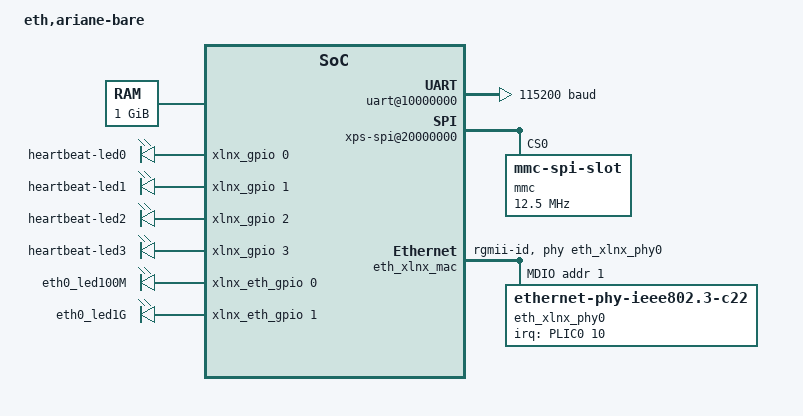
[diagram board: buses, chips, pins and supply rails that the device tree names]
/dts-v1/;

#include <dt-bindings/gpio/gpio.h>

/ {
  #address-cells = <2>;
  #size-cells = <2>;
  compatible = "eth,ariane-bare-dev";
  model = "eth,ariane-bare";
  chosen {
    stdout-path = "/soc/uart@10000000:115200";
    //tick-timer =  "/cpus/cpu@0";
  };
  clk100: clk100 {
      compatible = "fixed-clock";
      #clock-cells = <0>;
      clock-frequency = <100000000>;
  };
  clk125: clk125 {
      compatible = "fixed-clock";
      #clock-cells = <0>;
      clock-frequency = <125000000>;
  };
  cpus {
    #address-cells = <1>;
    #size-cells = <0>;
    timebase-frequency = <50000000>; // 50 MHz
    CPU0: cpu@0 {
      clock-frequency = <100000000>; // 100 MHz
      device_type = "cpu";
      reg = <0>;
      status = "okay";
      compatible = "eth, ariane", "riscv";
      riscv,isa = "rv64imafdch_zicbom";
      mmu-type = "riscv,sv39";
      tlb-split;
      d-cache-block-size = <128>;
      riscv,cbom-block-size = <128>;
      // HLIC - hart local interrupt controller
      CPU0_intc: interrupt-controller {
        #interrupt-cells = <1>;
        interrupt-controller;
        compatible = "riscv,cpu-intc";
      };
    };
    CPU1: cpu@1 {
      clock-frequency = <100000000>; // 100 MHz
      device_type = "cpu";
      reg = <1>;
      status = "okay";
      compatible = "eth, ariane", "riscv";
      riscv,isa = "rv64imafdch_zicbom";
      mmu-type = "riscv,sv39";
      tlb-split;
      d-cache-block-size = <128>;
      riscv,cbom-block-size = <128>;
      // HLIC - hart local interrupt controller
      CPU1_intc: interrupt-controller {
        #interrupt-cells = <1>;
        interrupt-controller;
        compatible = "riscv,cpu-intc";
      };
    };
  };
  memory@80000000 {
    device_type = "memory";
    reg = <0x0 0x80000000 0x0 0x40000000>;
  };
  leds {
    compatible = "gpio-leds";
    heartbeat-led0 {
      gpios = <&xlnx_gpio 0 GPIO_ACTIVE_HIGH>;
      linux,default-trigger = "panic";
      retain-state-suspended;
    };
    heartbeat-led1 {
      gpios = <&xlnx_gpio 1 GPIO_ACTIVE_HIGH>;
      linux,default-trigger = "panic";
      retain-state-suspended;
    };
    heartbeat-led2 {
      gpios = <&xlnx_gpio 2 GPIO_ACTIVE_HIGH>;
      linux,default-trigger = "panic";
      retain-state-suspended;
    };
    heartbeat-led3 {
      gpios = <&xlnx_gpio 3 GPIO_ACTIVE_HIGH>;
      linux,default-trigger = "panic";
      retain-state-suspended;
    };
    eth0_led100M {
      gpios = <&xlnx_eth_gpio 0 GPIO_ACTIVE_HIGH>;
      default-state = "off";
      linux,default-trigger = "axienet-40c00000:01:100Mbps";
    };
    eth0_led1G {
      gpios = <&xlnx_eth_gpio 1 GPIO_ACTIVE_HIGH>;
      default-state = "off";
      linux,default-trigger = "axienet-40c00000:01:1Gbps";
    };
  };
  L26: soc {
    #address-cells = <2>;
    #size-cells = <2>;
    compatible = "eth,ariane-bare-soc", "simple-bus";
    ranges;
    dma-noncoherent;
    clint@2000000 {
      compatible = "riscv,clint0";
      interrupts-extended = <&CPU0_intc 3 &CPU0_intc 7 &CPU1_intc 3 &CPU1_intc 7>;
      reg = <0x0 0x2000000 0x0 0xc0000>;
      reg-names = "control";
    };
    PLIC0: interrupt-controller@c000000 {
      #address-cells = <0>;
      #interrupt-cells = <1>;
      compatible = "riscv,plic0";
      interrupt-controller;
      interrupts-extended = <&CPU0_intc 11 &CPU0_intc 9 &CPU1_intc 11 &CPU1_intc 9>;
      reg = <0x0 0xc000000 0x0 0x4000000>;
      riscv,max-priority = <7>;
      riscv,ndev = <30>;
    };
    // Specifying the interrupt controller in the devicetree is not necessary.
    // Furthermore, the IRQ 65535 will cause a `hwirq 0xffff is too large` during
    // Linux boot (occured with mainline linux 5.14.0).
    //  debug-controller@0 {
    //    compatible = "riscv,debug-013";
    //    interrupts-extended = <&CPU0_intc 65535>;
    //    reg = <0x0 0x0 0x0 0x1000>;
    //    reg-names = "control";
    //  };
    uart@10000000 {
      compatible = "xlnx,axi-uart16550-1.01.a", "xlnx,xps-uart16550-2.00.a", "ns16550a";
      reg = <0x0 0x10000000 0x0 0x10000>;
      clock-frequency = <100000000>;
      current-speed = <115200>;
      interrupt-parent = <&PLIC0>;
      interrupts = <1>;
      reg-shift = <2>; // regs are spaced on 32 bit boundary
      reg-io-width = <4>; // only 32-bit access are supported
    };
    timer@18000000 {
      compatible = "pulp,apb_timer";
      interrupts = <4 5 6 7>;
      reg = <0x00000000 0x18000000 0x00000000 0x00001000>;
      interrupt-parent = <&PLIC0>;
      reg-names = "control";
    };
    xps-spi@20000000 {
      compatible = "xlnx,xps-spi-2.00.b", "xlnx,xps-spi-2.00.a";
      #address-cells = <1>;
      #size-cells = <0>;
      interrupt-parent = <&PLIC0>;
      interrupts = <2>;
      reg = < 0x0 0x20000000 0x0 0x1000 >;
      xlnx,family = "zynq7";
      xlnx,fifo-exist = <0x1>;
      xlnx,num-ss-bits = <0x1>;
      xlnx,num-transfer-bits = <0x8>;
      xlnx,sck-ratio = <0x4>;

      mmc@0 {
        compatible = "mmc-spi-slot";
        reg = <0>;
        spi-max-frequency = <12500000>;
        voltage-ranges = <3300 3300>;
        disable-wp;
      };
      // mmc-slot@0 {
      //   compatible = "fsl,mpc8323rdb-mmc-slot", "mmc-spi-slot";
      //   reg = <0>;  //Chip select 0
      //   spi-max-frequency = <12500000>;
      //   voltage-ranges = <3300 3300>;
      //   //interrupts = < 2 2 >;
      //   //interrupt-parent = <&PLIC0>;
      // };
    };
    eth_xlnx_dma: dma@41e00000 {
        compatible = "xlnx,axi-dma-1.00.a";
        dma-controller;
        #dma-cells = <1>;
        reg = <0x0 0x41e00000 0x0 0x10000>;
        interrupt-parent = <&PLIC0>;

        xlnx,addrwidth = <64>;
        xlnx,axistream-connected;
        xlnx,sg-length-width = <14>;

        clocks = <&clk100>;
        clock-names = "s_axi_lite_aclk";

        eth_xlnx_dma_mm2s: dma-channel@41e00000 {
            compatible = "xlnx,axi-dma-mm2s-channel";
            interrupts = <8>;
            xlnx,datawidth = <64>;
            xlnx,include-dre;
        };

        eth_xlnx_dma_s2mm: dma-channel@41e00030 {
            compatible = "xlnx,axi-dma-s2mm-channel";
            interrupts = <9>;
            xlnx,datawidth = <64>;
            xlnx,include-dre;
        };
    };
    eth_xlnx_mac: ethernet@40c00000 {
        compatible = "xlnx,axi-ethernet-2.01.a", "xlnx,axi-ethernet-1.01.a", "xlnx,axi-ethernet-1.00.a";
        reg = <0x0 0x40c00000 0x0 0x40000>, <0x0 0x41e00000 0x0 0x10000>;
        reg-names = "mac", "dma";
        interrupt-parent = <&PLIC0>;
        interrupts = <3>;

        phy-mode = "rgmii-id";
        phy-handle = <&eth_xlnx_phy0>;
        local-mac-address = [00 18 3e 02 e3 7f];

        dmas = <&eth_xlnx_dma 0>, <&eth_xlnx_dma 1>;
        dma-names = "tx_chan0", "rx_chan0";

        // Checksum offload
        xlnx,rxcsum = <2>;
        // Depth of the RX/TX packet buffer
        xlnx,rxmem = <0x1000>;
        xlnx,txcsum = <2>;

        clock-names = "s_axi_lite_clk", "axis_clk", "ref_clk", "mgt_clk";
        clocks = <&clk100>, <&clk100>, <&clk125>, <&clk125>;

        mdio {
            #address-cells = <1>;
            #size-cells = <0>;
            eth_xlnx_phy0: ethernet-phy@1 {
                reg = <1>;
                compatible = "ethernet-phy-ieee802.3-c22";

                interrupt-parent = <&PLIC0>;
                interrupts = <10>;
            };
        };
    };
    xlnx_gpio: gpio@40000000 {
      #gpio-cells = <2>;
      compatible = "xlnx,xps-gpio-1.00.a";
      gpio-controller;
      reg = <0x0 0x40000000 0x0 0x10000>;
      xlnx,all-inputs = <0x0>;
      xlnx,all-outputs = <0x1>;
      xlnx,dout-default = <0x0>;
      xlnx,gpio-width = <0x4>;
      xlnx,interrupt-present = <0x0>;
      xlnx,is-dual = <0x0>;
      xlnx,tri-default = <0xffffffff>;
    };
    xlnx_eth_gpio: gpio@40010000 {
      #gpio-cells = <2>;
      compatible = "xlnx,xps-gpio-1.00.a";
      gpio-controller;
      reg = <0x0 0x40010000 0x0 0x10000>;
      xlnx,all-inputs = <0x0>;
      xlnx,all-outputs = <0x1>;
      xlnx,dout-default = <0x0>;
      xlnx,gpio-width = <0x2>;
      xlnx,interrupt-present = <0x0>;
      xlnx,is-dual = <0x0>;
      xlnx,tri-default = <0xffffffff>;
    };
  };
};
